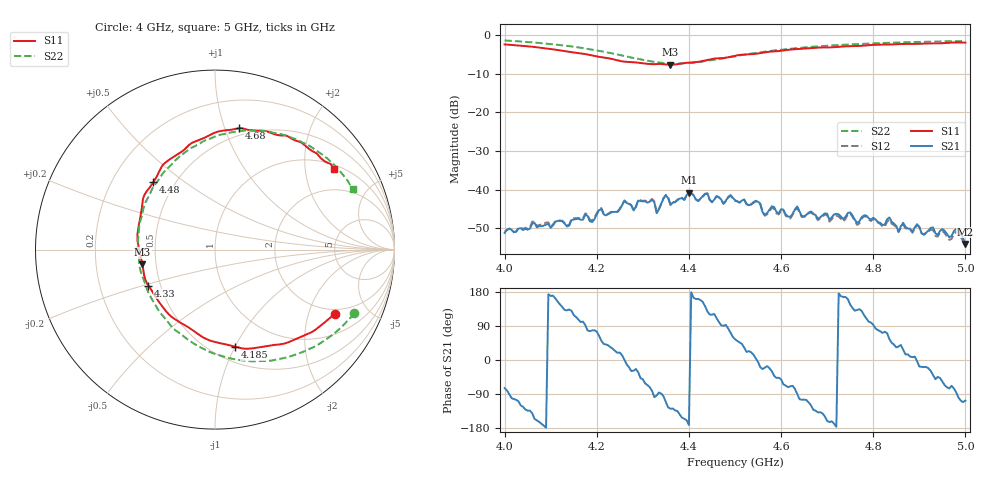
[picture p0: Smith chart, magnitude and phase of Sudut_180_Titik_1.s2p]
# Hz S RI R 50
! CMT, C1220, 16058040, 17.2.0/1
! Date: 15/08/2018 11:33:51
! Data: Format (Calibration Info)
! Freq  S11: Re/Im (F2)  S21: Re/Im (F2)  S12: Re/Im (F2)  S22: Re/Im (F2)
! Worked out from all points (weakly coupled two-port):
!   201 points, 4 GHz to 5 GHz, reference 50 ohm
!   highest |S21| = -40.80 dB at 4.4 GHz (marker M1); lowest = -54.1 dB at 5 GHz (marker M2)
!   lowest |S11| = -7.7 dB at 4.36 GHz (marker M3), VSWR 2.41, Z = 21 - j4.13 ohm
!   |S11| at or under -10 dB: nowhere
!   |S22| runs from -7.4 to -1.4 dB; largest |S21 - S12| = 0.00033
!   S11 on the Smith chart (normalised r, x): 4 GHz: 1.79, -3.00; 4.185 GHz: 0.64, -1.00; 4.33 GHz: 0.43, -0.21; 4.48 GHz: 0.38, +0.39; 4.68 GHz: 0.43, +1.12; 5 GHz: 1.15, +2.84
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4e9  0.6673 -0.3571  0.000749 -0.00264  0.000816 -0.00273  0.7748 -0.3545
4.17e9  0.1639 -0.5521  -0.000803 0.00399  -0.000961 0.00413  0.2741 -0.6206
4.185e9  0.1108 -0.5411  0.000931 0.00377  0.000905 0.00394  0.2101 -0.6224
4.26e9  -0.1714 -0.4191  0.00714 0.000107  0.00725 7.55e-05  -0.1181 -0.5238
4.28e9  -0.2458 -0.3716  0.00473 -0.00253  0.00478 -0.00255  -0.1981 -0.4652
4.32e9  -0.349 -0.2346  0.00108 -0.00731  0.0011 -0.00749  -0.331 -0.3114
4.33e9  -0.3707 -0.201  -0.000294 -0.00494  -0.000376 -0.00507  -0.3552 -0.2698
4.335e9  -0.3813 -0.1834  0.00041 -0.00553  0.000273 -0.00565  -0.3679 -0.2462
4.35e9  -0.3979 -0.124  -0.00304 -0.00786  -0.0032 -0.00792  -0.3958 -0.1719
4.36e9  -0.4045 -0.0817  -0.00392 -0.00495  -0.00411 -0.00497  -0.4131 -0.1253
4.4e9  -0.4322 0.085  -0.00902 -0.00133  -0.00906 -0.00106  -0.4268 0.0747
4.48e9  -0.3434 0.3763  -0.000336 0.00715  -0.000188 0.00707  -0.3009 0.4101
4.5e9  -0.3051 0.4466  0.00418 0.00596  0.00414 0.00584  -0.2459 0.4707
4.545e9  -0.195 0.5385  0.00715 0.000589  0.007 0.000385  -0.1146 0.5748
4.565e9  -0.1467 0.5811  0.00445 -0.00159  0.00427 -0.00167  -0.0548 0.6082
4.67e9  0.1134 0.6718  -0.00323 -0.00366  -0.0032 -0.00352  0.2482 0.6631
4.68e9  0.1326 0.6761  -0.00312 -0.00278  -0.00302 -0.00263  0.2723 0.6602
4.835e9  0.4449 0.6092  0.00248 0.00359  0.00224 0.00339  0.5822 0.54
4.855e9  0.4767 0.5984  0.00232 0.00166  0.00229 0.00164  0.6121 0.5177
4.865e9  0.488 0.5915  0.0033 0.00171  0.00309 0.00168  0.6262 0.5076
4.98e9  0.6465 0.4745  0.000248 -0.00309  0.000229 -0.00285  0.7503 0.3637
5e9  0.6615 0.4468  -0.00058 -0.00188  -0.000491 -0.00179  0.7683 0.3367
